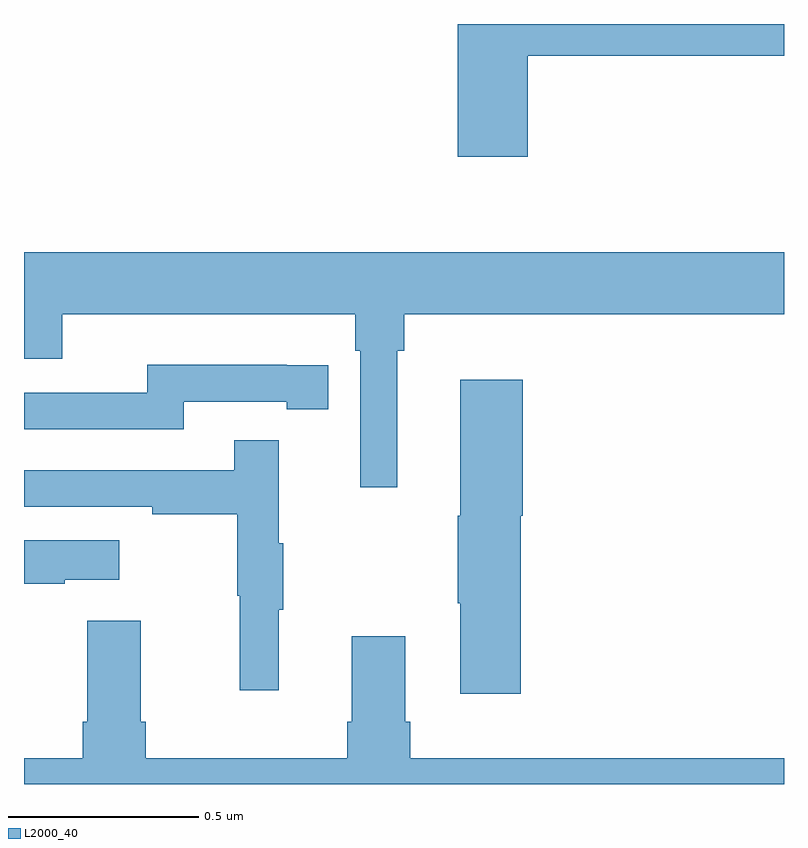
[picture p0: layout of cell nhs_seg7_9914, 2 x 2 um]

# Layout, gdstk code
import gdstk
lib = gdstk.Library(unit=1e-6, precision=1e-09)
def P(c, l, *ps):  # polygons
    for p in ps: c.add(gdstk.Polygon(p, *l))
L2000_40 = (2000, 40)

nhs_seg7_9914 = lib.new_cell('nhs_seg7_9914')
P(nhs_seg7_9914, L2000_40, [(244.325,1047.916),(245,1047.916),(245,1048),(244.142,1048),(244.142,1047.651),(244.325,1047.651)],
  [(243.982,1047.14),(244.001,1047.14),(244.001,1047.236),(245,1047.236),(245,1047.4),(243,1047.4),(243,1047.119),(243.1,1047.119),(243.1,1047.236),(243.872,1047.236),(243.872,1047.14),(243.885,1047.14),(243.885,1046.781),(243.982,1046.781)],
  [(243.42,1047.006),(243.692,1047.006),(243.692,1046.986),(243.8,1046.986),(243.8,1047.102),(243.692,1047.102),(243.692,1047.103),(243.324,1047.103),(243.324,1047.03),(243,1047.03),(243,1046.934),(243.42,1046.934)],
  [(244.307,1046.706),(244.312,1046.706),(244.312,1047.064),(244.148,1047.064),(244.148,1046.706),(244.141,1046.706),(244.141,1046.476),(244.148,1046.476),(244.148,1046.238),(244.307,1046.238)],
  [(243.671,1046.459),(243.682,1046.459),(243.682,1046.633),(243.671,1046.633),(243.671,1046.905),(243.553,1046.905),(243.553,1046.826),(243,1046.826),(243,1046.73),(243.337,1046.73),(243.337,1046.71),(243.561,1046.71),(243.561,1046.496),(243.568,1046.496),(243.568,1046.247),(243.671,1046.247)],
  [(243.107,1046.537),(243.25,1046.537),(243.25,1046.641),(243,1046.641),(243,1046.527),(243.107,1046.527)],
  [(245,1046.068),(244.016,1046.068),(244.016,1046.164),(244.003,1046.164),(244.003,1046.389),(243.863,1046.389),(243.863,1046.164),(243.851,1046.164),(243.851,1046.068),(243.32,1046.068),(243.32,1046.164),(243.307,1046.164),(243.307,1046.43),(243.167,1046.43),(243.167,1046.164),(243.155,1046.164),(243.155,1046.068),(243,1046.068),(243,1046),(245,1046)])

lib.write_gds('nhs_seg7_9914.gds')
